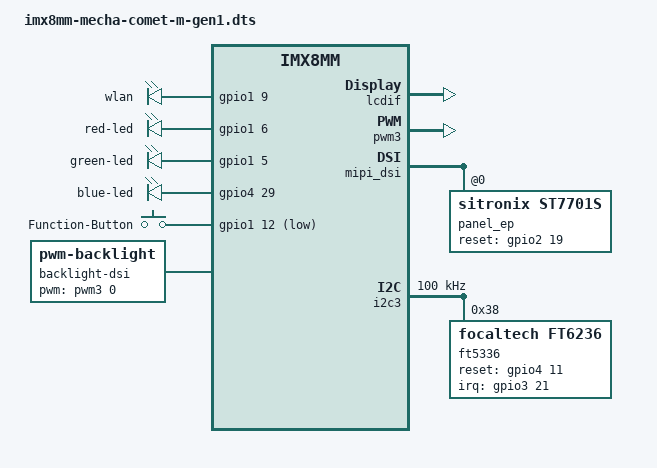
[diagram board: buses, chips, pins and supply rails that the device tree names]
// SPDX-License-Identifier: (GPL-2.0+ OR MIT)
/*
 * Copyright 2019 NXP
 */

/dts-v1/;

#include "imx8mm-mecha.dts"

/ {

	leds {
		led_wlan: wlan {
			label = "wlan";
			gpios = <&gpio1 9 GPIO_ACTIVE_HIGH>;
			linux,default-trigger = "rfkill0";
		};

		led_red: red_led {
			label = "red-led";
			gpios = <&gpio1 6 GPIO_ACTIVE_HIGH>;
		};

		led_green: green_led {
			label = "green-led";
			gpios = <&gpio1 5 GPIO_ACTIVE_HIGH>;
		};

		led_blue: red_blue {
			label = "blue-led";
			gpios = <&gpio4 29 GPIO_ACTIVE_HIGH>;
		};
	};
	
	function_button: Function-Button {
		compatible = "gpio-keys";
		pinctrl-names = "default";
		pinctrl-0 = <&pinctrl_function_btn_gpio>;

		btn1 {
			label = "Function-Button";
			gpios = <&gpio1 12 GPIO_ACTIVE_LOW>;
			wakeup-source;
			linux,code = <KEY_FN_1>;
		};
	};

	backlight-dsi {
		status = "okay";
		compatible = "pwm-backlight";
		pwms = <&pwm3 0 5000000>;
		brightness-levels = <0 255>;
		num-interpolated-steps = <255>;
		default-brightness-level = <250>;
	};
};

&lcdif {
	status = "okay";
};

&pwm3 {
	#pwm-cells = <2>;
        pinctrl-names = "default";
        pinctrl-0 = <&pinctrl_pwm3>;
        status = "okay";
};

&mipi_dsi {
        status = "okay";
        panel_ep: panel@0 {
                compatible = "sitronix,st7701s";
                reg = <0>;
                reset-gpio = <&gpio2 19 GPIO_ACTIVE_HIGH>;
                dsi-lanes = <2>;
                video-mode = <2>;       /* 0: burst mode
                                         * 1: non-burst mode with sync event
                                         * 2: non-burst mode with sync pulse
                                         */
                panel-width-mm = <60>;
                panel-height-mm = <60>;
                status = "okay";
        };
};

&i2c3 {
	clock-frequency = <100000>;
	pinctrl-names = "default";
	pinctrl-0 = <&pinctrl_i2c3>;
	status = "okay";

	ft5336@38 {
		compatible = "focaltech,ft6236", "ft5x06";
		reg = <0x38>;
		pinctrl-names = "default";
		pinctrl-0 = <&pinctrl_touch>;
		interrupt-parent = <&gpio3>;
		interrupts = <21 0>;
		reset-gpios = <&gpio4 11 GPIO_ACTIVE_HIGH>;
		touchscreen-size-x = <480>;
		touchscreen-size-y = <480>;
		status = "okay";
	};

};

&iomuxc {

	pinctrl_function_btn_gpio: gpiogrp {
		fsl,pins = <
			MX8MM_IOMUXC_GPIO1_IO12_GPIO1_IO12		0x19
		>;
	};

	pinctrl_i2c3: i2c3grp {
		fsl,pins = <
			MX8MM_IOMUXC_I2C3_SCL_I2C3_SCL                          0x400001c3
			MX8MM_IOMUXC_I2C3_SDA_I2C3_SDA                          0x400001c3
		>;
	};

	pinctrl_pwm3: pwm3grp {
		fsl,pins = <
			MX8MM_IOMUXC_SPDIF_TX_PWM3_OUT		0x06
		>;
	};

	pinctrl_touch: touchgrp {
		fsl,pins = <
			MX8MM_IOMUXC_SAI1_TXC_GPIO4_IO11        0x19
			MX8MM_IOMUXC_SAI5_RXD0_GPIO3_IO21       0x19
		>;
	};
};

